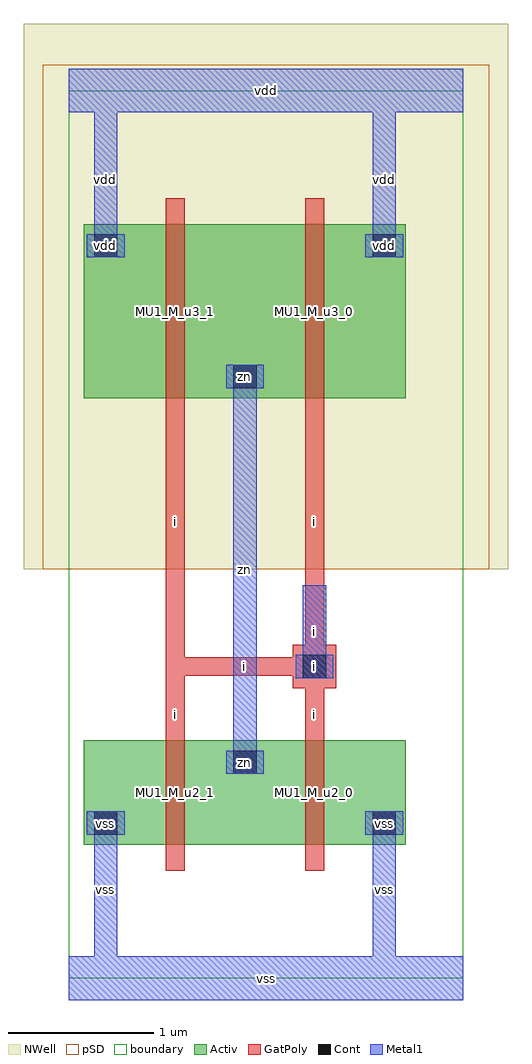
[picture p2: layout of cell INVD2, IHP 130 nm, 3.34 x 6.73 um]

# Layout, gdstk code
import gdstk
lib = gdstk.Library(unit=1e-6, precision=1e-09)
def R(c, l, rs):  # rectangles x0, y0, x1, y1
    for r in rs: c.add(gdstk.rectangle(r[:2], r[2:], *l))
Activ = (1, 0)
GatPoly = (5, 0)
Cont = (6, 0)
Metal1 = (8, 0)
pSD = (14, 0)
NWell = (31, 0)
TEXT = (63, 0)
boundary = (189, 4)

invd2 = lib.new_cell('INVD2')
R(invd2, Activ, [(0.105,0.92,1.365,1.64), (0.105,0.92,0.405,1.22), (1.065,0.92,2.325,1.64), (2.025,0.92,2.325,1.22), (1.065,1.34,1.365,1.64), (0.105,4,1.365,5.2), (1.065,4,2.325,5.2), (1.065,4,1.365,4.3), (0.105,4.9,0.405,5.2), (2.025,4.9,2.325,5.2)])
R(invd2, GatPoly, [(0.67,0.74,0.8,1.82), (1.63,0.74,1.76,1.82), (0.67,1.425,0.8,2.215), (1.63,1.425,1.76,2.215), (1.545,2,1.845,2.3), (0.67,2.085,1.76,2.215), (0.67,2.085,0.8,4.215), (1.63,2.085,1.76,4.215), (0.67,3.82,0.8,5.38), (1.63,3.82,1.76,5.38)])
R(invd2, Cont, [(0.175,0.99,0.335,1.15), (2.095,0.99,2.255,1.15), (1.135,1.41,1.295,1.57), (1.615,2.07,1.775,2.23), (1.135,4.07,1.295,4.23), (0.175,4.97,0.335,5.13), (2.095,4.97,2.255,5.13)])
R(invd2, Metal1, [(0,-0.15,2.72,0.15), (0.175,0.07,0.335,1.15), (2.095,0.07,2.255,1.15), (0.125,0.99,0.385,1.15), (2.045,0.99,2.305,1.15), (1.085,1.41,1.345,1.57), (1.135,1.41,1.295,4.23), (1.565,2.07,1.825,2.23), (1.615,2.07,1.775,2.71), (1.085,4.07,1.345,4.23), (0.125,4.97,0.385,5.13), (0.175,4.97,0.335,6.05), (2.045,4.97,2.305,5.13), (2.095,4.97,2.255,6.05), (0,5.97,2.72,6.27)])
R(invd2, pSD, [(-0.18,2.82,2.9,5.94), (-0.18,5.94,2.9,6.3)])
R(invd2, NWell, [(-0.31,2.82,3.03,6.58)])
R(invd2, boundary, [(0,0,2.72,6.12)])
invd2.add(gdstk.FlexPath([(0.105,0.41),(2.325,0.41)], 0, ends="flush", simple_path=True, layer=63, datatype=0))  # TEXT
invd2.add(gdstk.FlexPath([(0.105,1.07),(2.325,1.07)], 0, ends="flush", simple_path=True, layer=63, datatype=0))  # TEXT
invd2.add(gdstk.FlexPath([(0.105,1.49),(2.325,1.49)], 0, ends="flush", simple_path=True, layer=63, datatype=0))  # TEXT
invd2.add(gdstk.FlexPath([(0.105,2.15),(2.325,2.15)], 0, ends="flush", simple_path=True, layer=63, datatype=0))  # TEXT
invd2.add(gdstk.FlexPath([(0.105,2.63),(2.325,2.63)], 0, ends="flush", simple_path=True, layer=63, datatype=0))  # TEXT
invd2.add(gdstk.FlexPath([(0.105,3.11),(2.325,3.11)], 0, ends="flush", simple_path=True, layer=63, datatype=0))  # TEXT
invd2.add(gdstk.FlexPath([(0.105,4.15),(2.325,4.15)], 0, ends="flush", simple_path=True, layer=63, datatype=0))  # TEXT
invd2.add(gdstk.FlexPath([(0.105,4.71),(2.325,4.71)], 0, ends="flush", simple_path=True, layer=63, datatype=0))  # TEXT
invd2.add(gdstk.FlexPath([(0.105,5.05),(2.325,5.05)], 0, ends="flush", simple_path=True, layer=63, datatype=0))  # TEXT
invd2.add(gdstk.FlexPath([(0.105,5.71),(2.325,5.71)], 0, ends="flush", simple_path=True, layer=63, datatype=0))  # TEXT
invd2.add(gdstk.FlexPath([(0.255,0.07),(0.255,6.05)], 0, ends="flush", simple_path=True, layer=63, datatype=0))  # TEXT
invd2.add(gdstk.FlexPath([(0.735,0.07),(0.735,6.05)], 0, ends="flush", simple_path=True, layer=63, datatype=0))  # TEXT
invd2.add(gdstk.FlexPath([(1.215,0.07),(1.215,6.05)], 0, ends="flush", simple_path=True, layer=63, datatype=0))  # TEXT
invd2.add(gdstk.FlexPath([(1.695,0.07),(1.695,6.05)], 0, ends="flush", simple_path=True, layer=63, datatype=0))  # TEXT
invd2.add(gdstk.FlexPath([(2.175,0.07),(2.175,6.05)], 0, ends="flush", simple_path=True, layer=63, datatype=0))  # TEXT
invd2.add(gdstk.Label('zn', (1.215,1.49), layer=6, texttype=0))
invd2.add(gdstk.Label('zn', (1.215,4.15), layer=6, texttype=0))
invd2.add(gdstk.Label('i', (1.695,2.15), layer=6, texttype=0))
invd2.add(gdstk.Label('vss', (2.175,1.07), layer=6, texttype=0))
invd2.add(gdstk.Label('vss', (0.255,1.07), layer=6, texttype=0))
invd2.add(gdstk.Label('vdd', (2.175,5.05), layer=6, texttype=0))
invd2.add(gdstk.Label('vdd', (0.255,5.05), layer=6, texttype=0))
invd2.add(gdstk.Label('vss', (2.175,1.07), layer=8, texttype=0))
invd2.add(gdstk.Label('vss', (2.175,0.61), layer=8, texttype=0))
invd2.add(gdstk.Label('vss', (0.255,1.07), layer=8, texttype=0))
invd2.add(gdstk.Label('vss', (0.255,0.61), layer=8, texttype=0))
invd2.add(gdstk.Label('vdd', (2.175,5.05), layer=8, texttype=0))
invd2.add(gdstk.Label('vdd', (2.175,5.51), layer=8, texttype=0))
invd2.add(gdstk.Label('vdd', (0.255,5.05), layer=8, texttype=0))
invd2.add(gdstk.Label('vdd', (0.255,5.51), layer=8, texttype=0))
invd2.add(gdstk.Label('zn', (1.215,1.49), layer=8, texttype=2))
invd2.add(gdstk.Label('zn', (1.215,4.15), layer=8, texttype=2))
invd2.add(gdstk.Label('zn', (1.215,2.82), layer=8, texttype=2))
invd2.add(gdstk.Label('i', (1.695,2.15), layer=8, texttype=2))
invd2.add(gdstk.Label('i', (1.695,2.39), layer=8, texttype=2))
invd2.add(gdstk.Label('vss', (1.36,0), layer=8, texttype=2))
invd2.add(gdstk.Label('vdd', (1.36,6.12), layer=8, texttype=2))
invd2.add(gdstk.Label('zn', (1.215,1.49), layer=8, texttype=2))
invd2.add(gdstk.Label('zn', (1.215,4.15), layer=8, texttype=2))
invd2.add(gdstk.Label('zn', (1.215,2.82), layer=8, texttype=2))
invd2.add(gdstk.Label('i', (1.695,2.15), layer=8, texttype=2))
invd2.add(gdstk.Label('i', (1.695,2.39), layer=8, texttype=2))
invd2.add(gdstk.Label('vss', (1.36,0), layer=8, texttype=2))
invd2.add(gdstk.Label('vdd', (1.36,6.12), layer=8, texttype=2))
invd2.add(gdstk.Label('MU1_M_u2_0', (1.695,1.28), layer=1, texttype=0))
invd2.add(gdstk.Label('MU1_M_u2_1', (0.735,1.28), layer=1, texttype=0))
invd2.add(gdstk.Label('MU1_M_u3_0', (1.695,4.6), layer=1, texttype=0))
invd2.add(gdstk.Label('MU1_M_u3_1', (0.735,4.6), layer=1, texttype=0))
invd2.add(gdstk.Label('zn', (1.215,1.49), layer=1, texttype=0))
invd2.add(gdstk.Label('zn', (1.215,4.15), layer=1, texttype=0))
invd2.add(gdstk.Label('vss', (2.175,1.07), layer=1, texttype=0))
invd2.add(gdstk.Label('vss', (0.255,1.07), layer=1, texttype=0))
invd2.add(gdstk.Label('vdd', (2.175,5.05), layer=1, texttype=0))
invd2.add(gdstk.Label('vdd', (0.255,5.05), layer=1, texttype=0))
invd2.add(gdstk.Label('zn', (1.215,1.49), layer=8, texttype=25))
invd2.add(gdstk.Label('zn', (1.215,4.15), layer=8, texttype=25))
invd2.add(gdstk.Label('zn', (1.215,2.82), layer=8, texttype=25))
invd2.add(gdstk.Label('i', (1.695,2.15), layer=8, texttype=25))
invd2.add(gdstk.Label('i', (1.695,2.39), layer=8, texttype=25))
invd2.add(gdstk.Label('vss', (1.36,0), layer=8, texttype=25))
invd2.add(gdstk.Label('vdd', (1.36,6.12), layer=8, texttype=25))
invd2.add(gdstk.Label('i', (1.695,1.82), layer=5, texttype=0))
invd2.add(gdstk.Label('i', (1.215,2.15), layer=5, texttype=0))
invd2.add(gdstk.Label('i', (0.735,1.82), layer=5, texttype=0))
invd2.add(gdstk.Label('i', (1.695,3.15), layer=5, texttype=0))
invd2.add(gdstk.Label('i', (0.735,3.15), layer=5, texttype=0))
invd2.add(gdstk.Label('i', (1.695,2.15), layer=5, texttype=0))

lib.write_gds('INVD2.gds')
